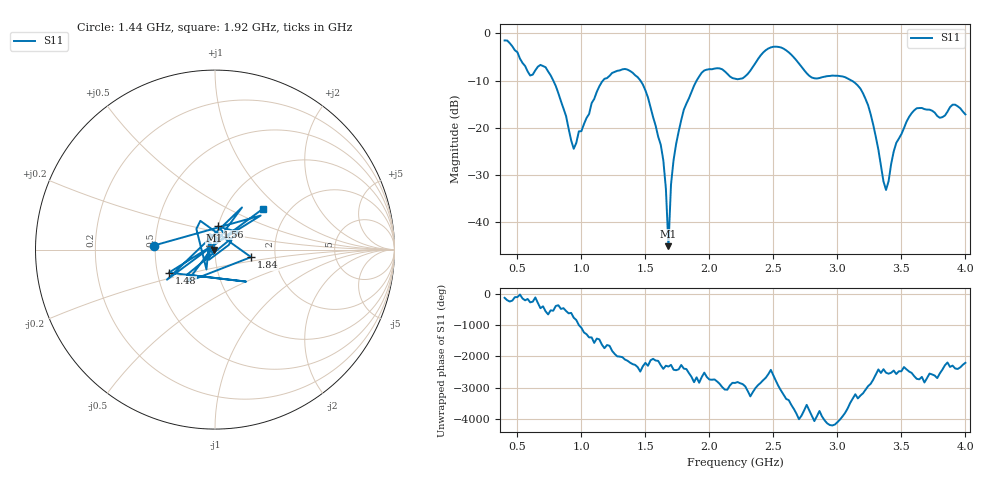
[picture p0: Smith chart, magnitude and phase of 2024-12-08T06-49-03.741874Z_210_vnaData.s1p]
!Created with skrf (http://scikit-rf.org).
# Hz S RI R 50.0
!freq ReS11 ImS11
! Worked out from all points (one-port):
!   181 points, 400 MHz to 4 GHz, reference 50 ohm
!   lowest |S11| = -45.1 dB at 1.68 GHz (marker M1), VSWR 1.01, Z = 49.5 - j0.163 ohm
!   |S11| at or under -10 dB: 780.1 MHz to 1.169 GHz (388.6 MHz wide, 39.9 % of centre); 1.461 GHz to 1.9 GHz (439.6 MHz wide, 26.2 % of centre); 3.11 GHz to end of sweep
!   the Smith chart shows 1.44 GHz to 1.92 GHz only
!   S11 on the Smith chart (normalised r, x): 1.44 GHz: 0.49, +0.02; 1.48 GHz: 0.57, -0.16; 1.56 GHz: 1.00, +0.26; 1.84 GHz: 1.50, -0.13; 1.92 GHz: 1.49, +0.77
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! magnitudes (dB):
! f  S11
! 400 MHz  -1.5
! 600 MHz  -8.9
! 720 MHz  -7.2
! 860 MHz  -15.9
! 940 MHz  -24.5
! 1.16 GHz  -10.3
! 1.3 GHz  -7.8
! 1.44 GHz  -9.3
! 1.48 GHz  -10.8
! 1.56 GHz  -17.7
! 1.64 GHz  -26.9
! 1.66 GHz  -32.9
! 1.68 GHz  -45.1
! 1.7 GHz  -32.0
! 1.76 GHz  -20.8
! 1.84 GHz  -13.8
! 1.92 GHz  -9.1
! 2.2 GHz  -9.6
! 2.48 GHz  -3.0
! 2.66 GHz  -5.1
! 2.8 GHz  -9.4
! 3.1 GHz  -9.9
! 3.24 GHz  -15.2
! 3.38 GHz  -33.2
! 3.46 GHz  -23.2
! 3.56 GHz  -17.7
! 3.9 GHz  -15.1
! 4 GHz  -17.2
